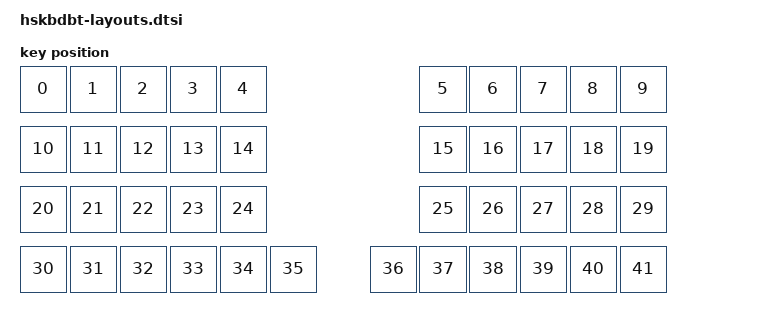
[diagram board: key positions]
// See https://zmk.dev/docs/development/hardware-integration/physical-layouts
// for how to configure this.

#include <physical_layouts.dtsi>

/ {
    default_layout: default_layout {
        compatible = "zmk,physical-layout";
        display-name = "Default Layout";
        transform = <&default_transform>;
        kscan = <&kscan>;

        // Edit this to define the positions and sizes of the keys, or remove it
        // if your keyboard will not support ZMK Studio.
        // https://zmk.dev/docs/development/hardware-integration/physical-layouts#optional-keys-property
        keys  //                     w   h    x    y     rot    rx    ry
            = <&key_physical_attrs 100 100    0    0       0     0     0>
            , <&key_physical_attrs 100 100  100    0       0     0     0>
            , <&key_physical_attrs 100 100  200    0       0     0     0>
            , <&key_physical_attrs 100 100  300    0       0     0     0>
            , <&key_physical_attrs 100 100  400    0       0     0     0>
            , <&key_physical_attrs 100 100  800    0       0     0     0>
            , <&key_physical_attrs 100 100  900    0       0     0     0>
            , <&key_physical_attrs 100 100 1000    0       0     0     0>
            , <&key_physical_attrs 100 100 1100    0       0     0     0>
            , <&key_physical_attrs 100 100 1200    0       0     0     0>

            , <&key_physical_attrs 100 100    0  120       0     0     0>
            , <&key_physical_attrs 100 100  100  120       0     0     0>
            , <&key_physical_attrs 100 100  200  120       0     0     0>
            , <&key_physical_attrs 100 100  300  120       0     0     0>
            , <&key_physical_attrs 100 100  400  120       0     0     0>
            , <&key_physical_attrs 100 100  800  120       0     0     0>
            , <&key_physical_attrs 100 100  900  120       0     0     0>
            , <&key_physical_attrs 100 100 1000  120       0     0     0>
            , <&key_physical_attrs 100 100 1100  120       0     0     0>
            , <&key_physical_attrs 100 100 1200  120       0     0     0>

            , <&key_physical_attrs 100 100    0  240       0     0     0>
            , <&key_physical_attrs 100 100  100  240       0     0     0>
            , <&key_physical_attrs 100 100  200  240       0     0     0>
            , <&key_physical_attrs 100 100  300  240       0     0     0>
            , <&key_physical_attrs 100 100  400  240       0     0     0>
            , <&key_physical_attrs 100 100  800  240       0     0     0>
            , <&key_physical_attrs 100 100  900  240       0     0     0>
            , <&key_physical_attrs 100 100 1000  240       0     0     0>
            , <&key_physical_attrs 100 100 1100  240       0     0     0>
            , <&key_physical_attrs 100 100 1200  240       0     0     0>

            , <&key_physical_attrs 100 100    0  360       0     0     0>
            , <&key_physical_attrs 100 100  100  360       0     0     0>
            , <&key_physical_attrs 100 100  200  360       0     0     0>
            , <&key_physical_attrs 100 100  300  360       0     0     0>
            , <&key_physical_attrs 100 100  400  360       0     0     0>
            , <&key_physical_attrs 100 100  500  360       0     0     0>
            , <&key_physical_attrs 100 100  700  360       0     0     0>
            , <&key_physical_attrs 100 100  800  360       0     0     0>
            , <&key_physical_attrs 100 100  900  360       0     0     0>
            , <&key_physical_attrs 100 100 1000  360       0     0     0>
            , <&key_physical_attrs 100 100 1100  360       0     0     0>
            , <&key_physical_attrs 100 100 1200  360       0     0     0>
            ;
    };
};
